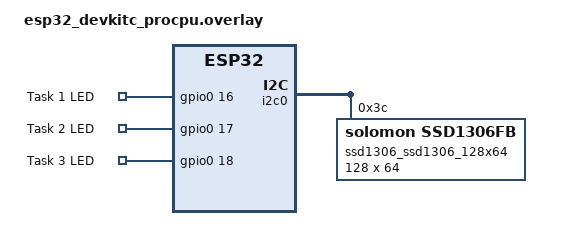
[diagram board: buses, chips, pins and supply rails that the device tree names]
/ {
    custom_gpio {
        compatible = "gpio-keys";

        task1_led: task1_led {
            gpios = <&gpio0 16 GPIO_ACTIVE_HIGH>;
            label = "Task 1 LED";
        };
        task2_led: task2_led {
            gpios = <&gpio0 17 GPIO_ACTIVE_HIGH>;
            label = "Task 2 LED";
        };
        task3_led: task3_led {
            gpios = <&gpio0 18 GPIO_ACTIVE_HIGH>;
            label = "Task 3 LED";
        };
    };

    chosen {
        task1_led = &task1_led;
        task2_led = &task2_led;
        task3_led = &task3_led;
        zephyr,display = &ssd1306_ssd1306_128x64;
    };
};

&i2c0 {
    status = "okay";

    ssd1306_ssd1306_128x64: ssd1306@3c {
        compatible = "solomon,ssd1306fb";
        reg = <0x3c>;
        width = <128>;
        height = <64>;
        segment-offset = <0>;
        page-offset = <0>;
        display-offset = <0>;
        multiplex-ratio = <63>;
        segment-remap;
        com-invdir;
        prechargep = <0x22>;
    };
};
